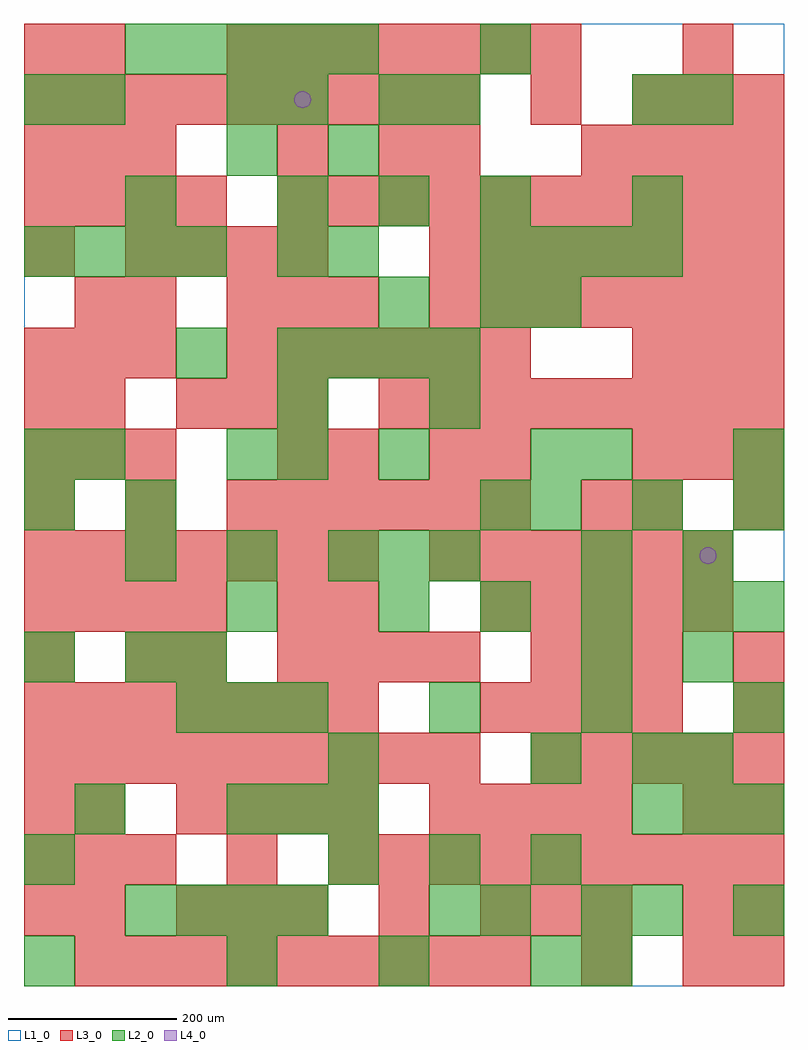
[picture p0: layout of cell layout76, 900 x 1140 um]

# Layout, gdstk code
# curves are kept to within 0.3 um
import gdstk
lib = gdstk.Library(unit=1e-6, precision=1e-09)
def R(c, l, rs):  # rectangles x0, y0, x1, y1
    for r in rs: c.add(gdstk.rectangle(r[:2], r[2:], *l))
def A(c, l, x, y, w, h, nx, ny, dx, dy):  # array of equal rectangles
    R(c, l, [(x+i*dx, y+j*dy, x+i*dx+w, y+j*dy+h) for i in range(nx) for j in range(ny)])
def P(c, l, *ps):  # polygons
    for p in ps: c.add(gdstk.Polygon(p, *l))
L1_0 = (1, 0)
L2_0 = (2, 0)
L3_0 = (3, 0)
L4_0 = (4, 0)

layout76 = lib.new_cell('layout76')
R(layout76, L1_0, [(0,0,900,1140)])
A(layout76, L2_0, 240, 0, 60, 60, 3, 1, 180, 0)
A(layout76, L2_0, 120, 60, 60, 60, 4, 1, 60, 0)
A(layout76, L2_0, 360, 120, 60, 60, 3, 1, 120, 0)
A(layout76, L2_0, 60, 180, 60, 60, 1, 3, 0, 420)
A(layout76, L2_0, 240, 180, 60, 60, 3, 1, 60, 0)
A(layout76, L2_0, 720, 180, 60, 60, 3, 1, 60, 0)
A(layout76, L2_0, 780, 240, 60, 60, 1, 3, 0, 120)
A(layout76, L2_0, 180, 300, 60, 60, 3, 1, 60, 0)
A(layout76, L2_0, 480, 300, 60, 60, 3, 1, 180, 0)
A(layout76, L2_0, 660, 360, 60, 60, 1, 3, 0, 120)
A(layout76, L2_0, 420, 420, 60, 60, 4, 1, 120, 0)
A(layout76, L2_0, 120, 480, 60, 60, 3, 1, 120, 0)
A(layout76, L2_0, 600, 540, 60, 60, 3, 1, 120, 0)
A(layout76, L2_0, 300, 660, 60, 60, 1, 3, 0, 180)
A(layout76, L2_0, 300, 720, 60, 60, 4, 1, 60, 0)
A(layout76, L2_0, 0, 840, 60, 60, 4, 1, 60, 0)
A(layout76, L2_0, 540, 840, 60, 60, 4, 1, 60, 0)
A(layout76, L2_0, 300, 900, 60, 60, 3, 1, 120, 0)
A(layout76, L2_0, 120, 1080, 60, 60, 5, 1, 60, 0)
R(layout76, L2_0, [(0,0,60,60), (660,0,720,60), (480,60,540,120), (540,60,600,120), (660,60,720,120), (720,60,780,120), (840,60,900,120), (0,120,60,180), (360,240,420,300), (600,240,660,300), (720,240,780,300), (0,360,60,420), (120,360,180,420), (180,360,240,420), (240,420,300,480), (840,420,900,480), (420,480,480,540), (480,480,540,540), (0,540,60,600), (120,540,180,600), (540,540,600,600), (0,600,60,660), (240,600,300,660), (300,600,360,660), (420,600,480,660), (600,600,660,660), (840,600,900,660), (480,660,540,720), (180,720,240,780), (420,780,480,840), (540,780,600,840), (600,780,660,840), (360,840,420,900), (120,900,180,960), (720,900,780,960), (240,960,300,1020), (360,960,420,1020), (0,1020,60,1080), (240,1020,300,1080), (420,1020,480,1080), (480,1020,540,1080), (720,1020,780,1080), (780,1020,840,1080), (540,1080,600,1140)])
A(layout76, L3_0, 60, 0, 60, 60, 9, 1, 60, 0)
A(layout76, L3_0, 180, 60, 60, 60, 3, 2, 60, 600)
A(layout76, L3_0, 540, 60, 60, 60, 3, 1, 60, 0)
A(layout76, L3_0, 840, 60, 60, 60, 1, 3, 0, 120)
A(layout76, L3_0, 0, 120, 60, 60, 3, 2, 60, 480)
A(layout76, L3_0, 360, 120, 60, 60, 9, 1, 60, 0)
A(layout76, L3_0, 180, 180, 60, 60, 4, 1, 60, 0)
A(layout76, L3_0, 480, 180, 60, 60, 4, 1, 60, 0)
A(layout76, L3_0, 0, 240, 60, 60, 9, 2, 60, 780)
A(layout76, L3_0, 600, 240, 60, 60, 5, 1, 60, 0)
A(layout76, L3_0, 0, 300, 60, 60, 7, 2, 60, 180)
A(layout76, L3_0, 540, 300, 60, 60, 4, 1, 60, 0)
A(layout76, L3_0, 300, 360, 60, 60, 4, 1, 60, 0)
A(layout76, L3_0, 600, 360, 60, 60, 3, 1, 60, 0)
A(layout76, L3_0, 0, 420, 60, 60, 4, 2, 60, 480)
A(layout76, L3_0, 540, 420, 60, 60, 5, 1, 60, 0)
A(layout76, L3_0, 480, 480, 60, 60, 6, 1, 60, 0)
A(layout76, L3_0, 0, 540, 60, 60, 3, 1, 120, 0)
A(layout76, L3_0, 300, 540, 60, 60, 5, 1, 60, 0)
A(layout76, L3_0, 720, 600, 60, 60, 3, 2, 60, 120)
A(layout76, L3_0, 420, 660, 60, 60, 8, 1, 60, 0)
A(layout76, L3_0, 0, 720, 60, 60, 3, 2, 60, 240)
A(layout76, L3_0, 240, 720, 60, 60, 6, 1, 60, 0)
A(layout76, L3_0, 240, 780, 60, 60, 3, 1, 60, 0)
A(layout76, L3_0, 480, 780, 60, 60, 7, 2, 60, 60)
A(layout76, L3_0, 120, 840, 60, 60, 4, 1, 60, 0)
A(layout76, L3_0, 300, 900, 60, 60, 10, 1, 60, 0)
A(layout76, L3_0, 660, 960, 60, 60, 4, 1, 60, 0)
A(layout76, L3_0, 720, 1020, 60, 60, 3, 1, 60, 0)
A(layout76, L3_0, 240, 1080, 60, 60, 7, 1, 60, 0)
R(layout76, L3_0, [(660,0,720,60), (780,0,840,60), (840,0,900,60), (0,60,60,120), (60,60,120,120), (420,60,480,120), (780,60,840,120), (240,120,300,180), (0,180,60,240), (60,180,120,240), (780,180,840,240), (0,360,60,420), (120,360,180,420), (180,360,240,420), (840,360,900,420), (300,420,360,480), (360,420,420,480), (660,540,720,600), (720,540,780,600), (840,540,900,600), (300,600,360,660), (360,600,420,660), (480,600,540,660), (540,600,600,660), (0,660,60,720), (60,660,120,720), (60,780,120,840), (120,780,180,840), (0,840,60,900), (300,960,360,1020), (420,960,480,1020), (480,960,540,1020), (600,1020,660,1080), (0,1080,60,1140), (60,1080,120,1140), (780,1080,840,1140)])
P(layout76, L4_0, [(340,1050),(339.239,1053.827),(337.071,1057.071),(333.827,1059.239),(330,1060),(326.173,1059.239),(322.929,1057.071),(320.761,1053.827),(320,1050),(320.761,1046.173),(322.929,1042.929),(326.173,1040.761),(330,1040),(333.827,1040.761),(337.071,1042.929),(339.239,1046.173)],
  [(820,510),(819.239,513.827),(817.071,517.071),(813.827,519.239),(810,520),(806.173,519.239),(802.929,517.071),(800.761,513.827),(800,510),(800.761,506.173),(802.929,502.929),(806.173,500.761),(810,500),(813.827,500.761),(817.071,502.929),(819.239,506.173)])

lib.write_gds('layout76.gds')
